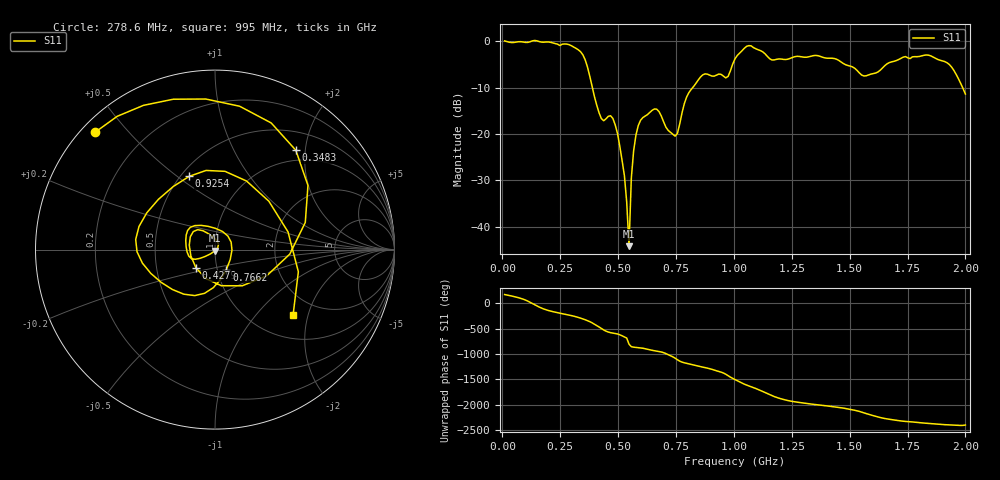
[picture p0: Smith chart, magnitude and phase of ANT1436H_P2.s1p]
!Created with skrf (http://scikit-rf.org).
# Hz S RI R 50.0
!freq ReS11 ImS11
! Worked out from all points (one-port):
!   201 points, 10 MHz to 2 GHz, reference 50 ohm
!   lowest |S11| = -44.2 dB at 547.3 MHz (marker M1), VSWR 1.01, Z = 50 - j0.613 ohm
!   |S11| at or under -10 dB: 389 MHz to 822 MHz (433.1 MHz wide, 71.5 % of centre); 1.988 GHz to end of sweep
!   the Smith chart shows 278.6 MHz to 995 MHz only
!   S11 on the Smith chart (normalised r, x): 278.6 MHz: 0.04, +0.41; 348.3 MHz: 0.81, +1.82; 427.9 MHz: 0.79, -0.16; 766.2 MHz: 1.11, -0.25; 925.4 MHz: 0.55, +0.55; 995 MHz: 1.49, -1.61
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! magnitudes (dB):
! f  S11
! 10 MHz  0.1
! 258.8 MHz  -0.6
! 278.6 MHz  -0.6
! 348.3 MHz  -2.9
! 427.9 MHz  -16.7
! 477.6 MHz  -16.7
! 507.5 MHz  -22.7
! 527.4 MHz  -29.0
! 547.3 MHz  -44.2
! 557.2 MHz  -29.5
! 567.2 MHz  -23.6
! 587.1 MHz  -18.2
! 666.7 MHz  -14.6
! 756.2 MHz  -19.9
! 766.2 MHz  -17.9
! 796 MHz  -12.0
! 855.8 MHz  -7.7
! 925.4 MHz  -7.3
! 975.1 MHz  -7.6
! 995 MHz  -4.9
! 1.005 GHz  -3.8
! 1.065 GHz  -0.9
! 1.254 GHz  -3.5
! 1.502 GHz  -5.3
! 1.572 GHz  -7.4
! 1.751 GHz  -3.5
! 1.92 GHz  -4.6
! 2 GHz  -11.4
